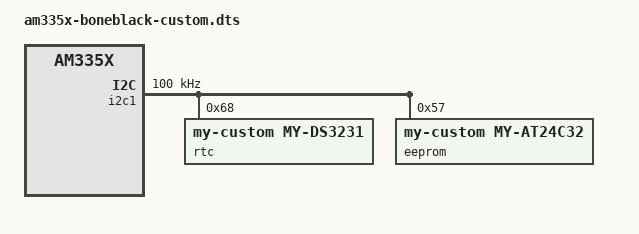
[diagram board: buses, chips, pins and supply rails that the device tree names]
/*
 * Custom additions for a Beaglebone board to enable i2c1
 * abd use it with external devices
 */

#include "am335x-boneblack.dts"

#include <dt-bindings/interrupt-controller/irq.h>
#include <dt-bindings/pinctrl/am33xx.h>
#include <dt-bindings/pinctrl/omap.h>

&am33xx_pinmux {
	/*
	 * BBB: P9.17 - I2C1_SCL
	 * BBB: P9.18 - I2C1_SDA
	 */
	i2c1_pins: pinmux_i2c1_pins {
		pinctrl-single,pins = < /* enable receiver | pullup selected | disable pullup/down resistor */
			AM33XX_IOPAD(AM335X_PIN_SPI0_D1, (1 << 5) | (1 << 4) | (1 << 3) | MUX_MODE2) /* sda */
			AM33XX_IOPAD(AM335X_PIN_SPI0_CS0, (1 << 5) | (1 << 4) | (1 << 3) | MUX_MODE2) /* scl */
		>;
	};

	/*
	 * BBB: P9.23 external led for use in ds3231 driver (gpio1_17)
	 */
	my_rtc_led_pin: pinmux_my_rtc_led_pin {
		pinctrl-single,pins = < /* disable receiver | pulldown selected | disable pullup/down resistor */
			AM33XX_IOPAD(AM335X_PIN_GPMC_A1, (0 << 5) | (0 << 4) | (0 << 3) | MUX_MODE7)
		>;
	};

	/*
	 * BBB: P9.15 external input pin for use in ds3231 driver (gpio1_16)
	 * Pin is used as gpio interrupts when ds3231 alarm is active
	 */
	my_rtc_sqw_in_pin: pinmux_my_rtc_sqw_in_pin {
		pinctrl-single,pins = < /* disable receiver | pullup selected | enable pullup/down resistor */
			AM33XX_IOPAD(AM335X_PIN_GPMC_A0, (0 << 5) | (1 << 4) | (0 << 3) | MUX_MODE7)
		>;
	};
};

/*
 * Enable i2c1 device, because we use it bus for external i2c devices
 */
&i2c1 {
	status = "okay";
	pinctrl-names = "default";
	pinctrl-0 = <&i2c1_pins>;

	clock-frequency = <100000>;

	#address-cells = <1>;
	#size-cells = <0>;

	rtc@68 {
		compatible = "my-custom,my-ds3231";
		reg = <0x68>;
	};

	eeprom@57 {
		compatible = "my-custom,my-at24c32";
		reg = <0x57>;
	};
};

// It will be used later.
// Goal: write one lartge driver for all my board
// / {
// 	customboard {
// 		compatible = "my-custom,my-ds3231";

// 		customboard_blink_led@0 {
// 			pinctrl-names = "default";
// 			pinctrl-0 = <&my_rtc_led_pin>;
// 		};

// 		customboard_blink_sqw_pin@1 {
// 			pinctrl-names = "default";
// 			pinctrl-0 = <&pinmux_my_rtc_sqw_in_pin>;
// 		};
// 	};
// };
